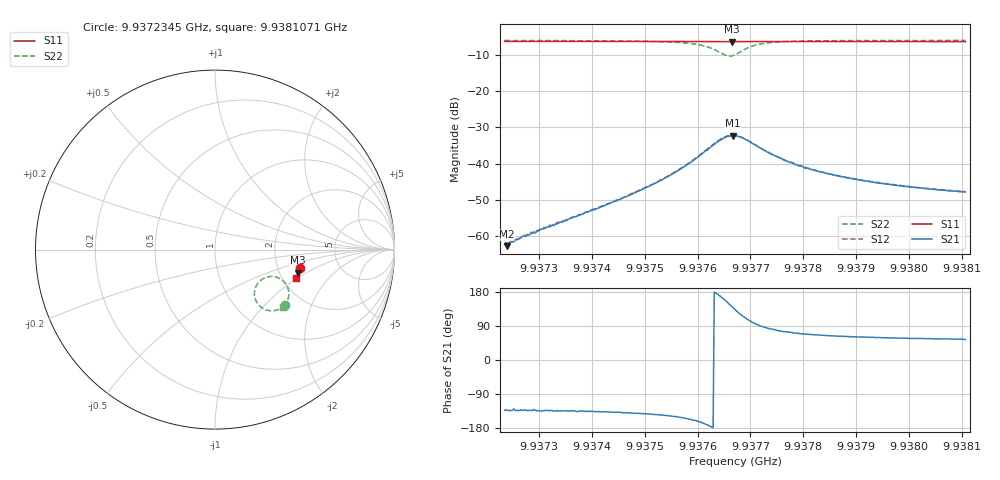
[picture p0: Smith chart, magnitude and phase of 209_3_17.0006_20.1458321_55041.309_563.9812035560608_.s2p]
#  HZ  S  RI  R  50.00
! Rohde & Schwarz Vector Network Analyzer
! Rohde-Schwarz,ZNB20-2Port,1311601062101988,3.16
! Created: UTC 3/20/2024, 11:01:24 PM
! freq[Hz]  re:S11  im:S11  re:S21  im:S21  re:S12  im:S12  re:S22  im:S22
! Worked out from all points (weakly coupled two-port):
!   401 points, 9.9372345 GHz to 9.9381071 GHz, reference 50 ohm
!   highest |S21| = -32.26 dB at 9.9376664 GHz (marker M1); lowest = -62.8 dB at 9.9372389 GHz (marker M2)
!   lowest |S11| = -6.4 dB at 9.9376643 GHz (marker M3), VSWR 2.84, Z = 126 - j42.1 ohm
!   |S11| at or under -10 dB: nowhere
!   |S22| runs from -10.3 to -6.1 dB; largest |S21 - S12| = 0.0011
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9.93723451e9  0.4729 -0.1022  -0.000527 -0.00056  -0.000523 -0.000564  0.3926 -0.3061
9.93723887e9  0.4728 -0.1025  -0.000496 -0.000533  -0.000568 -0.000571  0.3924 -0.3064
9.93729995e9  0.4714 -0.1067  -0.000854 -0.000887  -0.000831 -0.000852  0.3868 -0.3117
9.93738067e9  0.4699 -0.112  -0.00143 -0.00142  -0.00147 -0.00139  0.3775 -0.3192
9.93745048e9  0.4684 -0.1169  -0.00237 -0.00213  -0.00242 -0.00212  0.3661 -0.3267
9.93752683e9  0.4665 -0.1222  -0.00468 -0.0033  -0.00477 -0.00328  0.3428 -0.337
9.93757264e9  0.4652 -0.1252  -0.00791 -0.00406  -0.0081 -0.00398  0.3136 -0.341
9.93761409e9  0.4635 -0.128  -0.0146 -0.00289  -0.0149 -0.00261  0.2614 -0.3241
9.93763155e9  0.4626 -0.1288  -0.0183 0.000274  -0.0189 0.000815  0.2327 -0.2931
9.93764682e9  0.4618 -0.1294  -0.0211 0.00607  -0.0214 0.00682  0.2198 -0.2428
9.93765554e9  0.4615 -0.1293  -0.0212 0.0104  -0.0211 0.0115  0.2276 -0.2076
9.93766427e9  0.4614 -0.1292  -0.0191 0.015  -0.0189 0.0158  0.2497 -0.176
9.93766645e9  0.4614 -0.1293  -0.0184 0.016  -0.0181 0.0169  0.257 -0.1696
9.93767081e9  0.4615 -0.1292  -0.0167 0.0174  -0.0162 0.0184  0.2734 -0.1595
9.93768172e9  0.4617 -0.1295  -0.0116 0.0198  -0.0109 0.0205  0.3169 -0.1497
9.93769699e9  0.4622 -0.1307  -0.00525 0.0197  -0.00461 0.0199  0.3648 -0.1634
9.93772099e9  0.4624 -0.1324  0.000315 0.0161  0.000663 0.0161  0.4004 -0.2011
9.9377668e9  0.4617 -0.1359  0.00295 0.0107  0.00317 0.0105  0.4114 -0.2499
9.93781698e9  0.4606 -0.1395  0.00323 0.00762  0.0034 0.0076  0.4069 -0.2761
9.93787369e9  0.4593 -0.1434  0.00304 0.00585  0.00317 0.00583  0.4002 -0.2924
9.93796314e9  0.4572 -0.1493  0.00272 0.00442  0.0028 0.00439  0.3911 -0.3076
9.93810712e9  0.4533 -0.1587  0.00238 0.00329  0.00243 0.00333  0.3798 -0.3225
